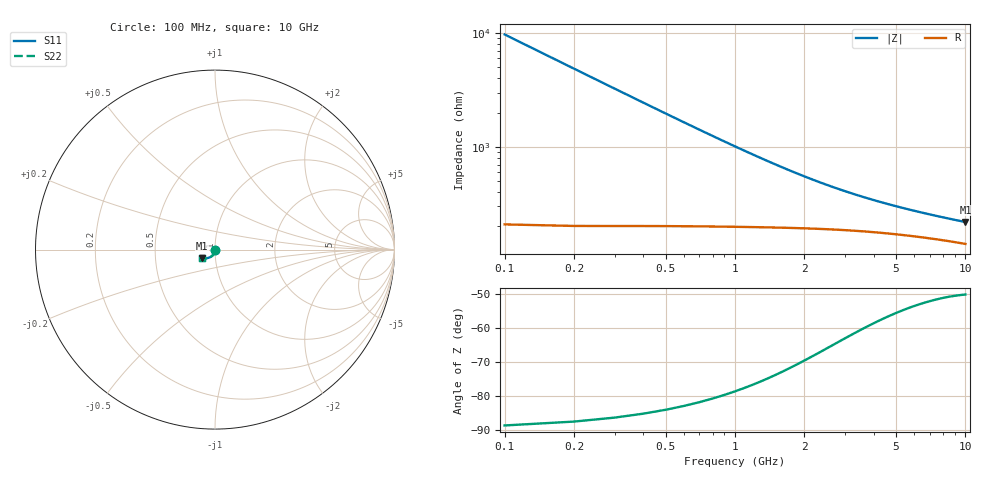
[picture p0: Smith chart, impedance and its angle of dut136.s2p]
! Touchstone file exported from HFSS 2024.1.0
!  File:  C:/UserFiles/LocalFiles/RDL_TSV_Batchsim/temp_TSV1_136_1779380025.aedt
!  Generated:  12:18:02 AM May 22, 2026
!  Design:  TSV1
!  Project:  temp_TSV1_136_1779380025
!  Setup:  Setup1
!  Solution:  Sweep
! Variables:
!  dtsv = 14.35um
!  hbump = 3um
!  htsv = 93.33um
!  lrdl = 252.1521522um
!  p = 40
!  p1 = 40.31um
!  t = 500um
!  trdl = 3um
!  wrdl = 24.89489489um
# GHz S MA R 50.000000
! Terminal data exported
! Port[1] = TSV22_T1
! Port[2] = TSV22_T2
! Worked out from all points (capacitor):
!   100 points, 100 MHz to 10 GHz, reference 50 ohm
!   read as one part in shunt: C = 163 fF near 100 MHz
!   lowest |Z| = 218 ohm at 10 GHz (marker M1)
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0.1  0.002229 -88.9  0.9998 -0.2  0.9998 -0.2  0.002229 -88.9
! Gamma 0 0 0 0
! Port Impedance 50 0 50 0
0.2  0.004461 -91.4  0.9997 -0.3  0.9997 -0.3  0.004461 -91.4
0.3  0.006694 -93.2  0.9993 -0.5  0.9993 -0.5  0.006694 -93.2
0.4  0.008916 -94.8  0.9989 -0.7  0.9989 -0.7  0.008916 -94.8
0.5  0.01112 -96.4  0.9984 -0.8  0.9984 -0.8  0.01112 -96.4
0.6  0.0133 -97.9  0.9978 -1.0  0.9978 -1.0  0.0133 -97.9
0.7  0.01544 -99.4  0.9971 -1.1  0.9971 -1.1  0.01544 -99.4
0.8  0.01755 -100.8  0.9964 -1.3  0.9964 -1.3  0.01755 -100.8
0.9  0.01962 -102.2  0.9955 -1.4  0.9955 -1.4  0.01962 -102.2
1.1  0.02364 -104.9  0.9937 -1.7  0.9937 -1.7  0.02364 -104.9
1.4  0.0293 -108.7  0.9905 -2.1  0.9905 -2.1  0.0293 -108.7
1.6  0.03281 -111.1  0.9882 -2.3  0.9882 -2.3  0.03281 -111.1
1.8  0.03613 -113.3  0.9858 -2.5  0.9858 -2.5  0.03613 -113.3
2.1  0.04071 -116.4  0.9821 -2.8  0.9821 -2.8  0.04071 -116.4
2.5  0.04616 -120.1  0.9772 -3.2  0.9772 -3.2  0.04616 -120.1
2.9  0.05093 -123.4  0.9726 -3.5  0.9726 -3.5  0.05093 -123.4
3.4  0.05607 -126.9  0.9671 -3.8  0.9671 -3.8  0.05607 -126.9
4.2  0.06283 -131.4  0.9595 -4.2  0.9595 -4.2  0.06283 -131.4
5.1  0.06886 -135.3  0.9523 -4.6  0.9523 -4.6  0.06886 -135.3
6.7  0.07695 -140.3  0.9423 -5.2  0.9423 -5.2  0.07695 -140.3
8.4  0.08323 -144.0  0.9345 -5.8  0.9345 -5.8  0.08323 -144.0
10  0.08776 -146.6  0.9289 -6.4  0.9289 -6.4  0.08776 -146.6
